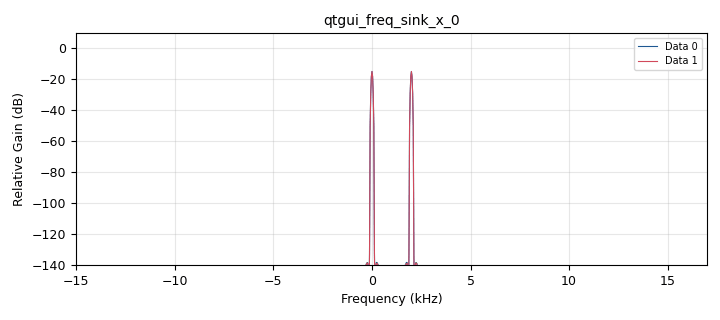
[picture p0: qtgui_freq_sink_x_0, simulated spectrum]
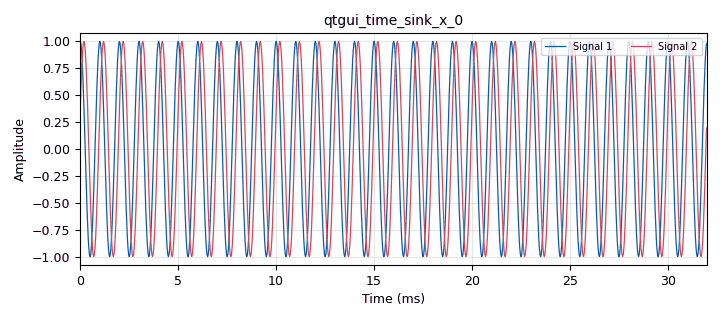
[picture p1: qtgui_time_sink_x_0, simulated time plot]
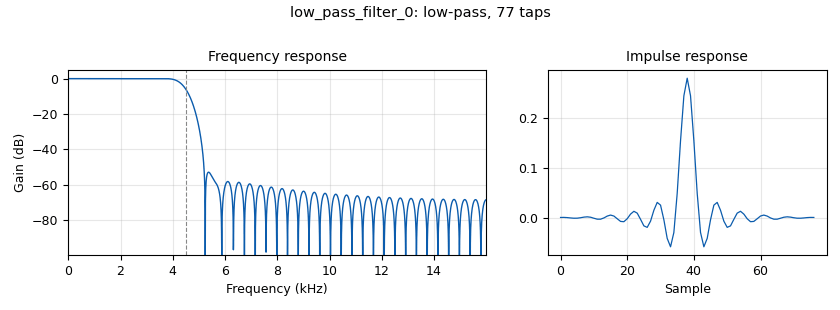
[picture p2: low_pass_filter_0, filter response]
options:
  parameters:
    author: HP
    generate_options: qt_gui
    id: simple_wave_generation
    output_language: python
    title: Not titled yet
  states: {}

blocks:
- name: Frequency
  id: variable_qtgui_range
  parameters:
    start: '0'
    step: '1'
    stop: '5000'
    value: '1000'
  states: {}
- name: samp_rate
  id: variable
  parameters:
    value: '32000'
  states: {}
- name: analog_sig_source_x_0
  id: analog_sig_source_x
  parameters:
    amp: '1'
    freq: Frequency
    offset: '0'
    phase: '0'
    samp_rate: samp_rate
    type: float
    waveform: analog.GR_COS_WAVE
  states: {}
- name: blocks_throttle2_0
  id: blocks_throttle2
  parameters:
    samples_per_second: samp_rate
    type: float
  states: {}
- name: low_pass_filter_0
  id: low_pass_filter
  parameters:
    cutoff_freq: '4500'
    decim: '1'
    gain: '1'
    samp_rate: samp_rate
    type: fir_filter_fff
    width: '1000'
    win: window.WIN_HAMMING
  states: {}
- name: qtgui_freq_sink_x_0
  id: qtgui_freq_sink_x
  parameters:
    bw: samp_rate
    fc: Frequency
    fftsize: '1024'
    nconnections: '2'
    type: float
  states: {}
- name: qtgui_time_sink_x_0
  id: qtgui_time_sink_x
  parameters:
    nconnections: '2'
    size: '1024'
    srate: samp_rate
    type: float
  states: {}

connections:
- [analog_sig_source_x_0, '0', blocks_throttle2_0, '0']
- [analog_sig_source_x_0, '0', low_pass_filter_0, '0']
- [blocks_throttle2_0, '0', qtgui_freq_sink_x_0, '0']
- [blocks_throttle2_0, '0', qtgui_time_sink_x_0, '0']
- [low_pass_filter_0, '0', qtgui_freq_sink_x_0, '1']
- [low_pass_filter_0, '0', qtgui_time_sink_x_0, '1']

metadata:
  file_format: 1
  grc_version: 3.10.12.0
